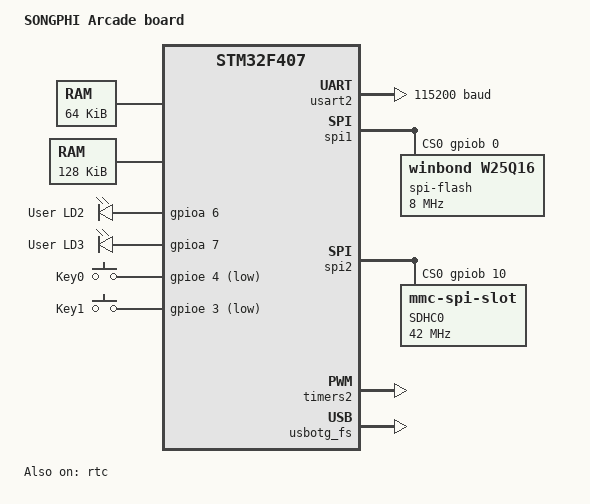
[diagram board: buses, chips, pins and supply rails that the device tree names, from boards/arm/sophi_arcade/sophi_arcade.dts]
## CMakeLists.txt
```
# SPDX-License-Identifier: Apache-2.0

cmake_minimum_required(VERSION 3.13.1)

set(BOARD_ROOT "${CMAKE_SOURCE_DIR}")

message(${BOARD_ROOT})

include($ENV{ZEPHYR_BASE}/cmake/app/boilerplate.cmake NO_POLICY_SCOPE)


project(sophi-arcade)

target_sources(app PRIVATE src/main.c)
```

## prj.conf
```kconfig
CONFIG_LVGL=y
```

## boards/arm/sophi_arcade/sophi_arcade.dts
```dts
/dts-v1/;

#include <mem.h>
#include <st/f4/stm32f407.dtsi>

/ {
    model = "SONGPHI Arcade board";
    compatible = "st,stm32f407";

    ccm0: memory@10000000 {
        compatible = "st,stm32-ccm";
        reg = <0x10000000 DT_SIZE_K(64)>;
    };

    sram0: memory@20000000 {
        reg = <0x20000000 DT_SIZE_K(128)>;
    };

    soc {
        flash-controller@40023c00 {
            flash0: flash@8000000 {
                reg = <0x08000000 DT_SIZE_K(512)>;
            };
        };
    };

    chosen {
        zephyr,console = &usart2;
        zephyr,shell-uart = &usart2;
        zephyr,sram = &sram0;
        zephyr,flash = &flash0;
        zephyr,ccm = &ccm0;
    };

    leds {
        compatible = "gpio-leds";

        led_2: led_2 {
            gpios = <&gpioa 6 GPIO_INT_ACTIVE_HIGH>;
            label = "User LD2";
        };
        led_3: led_3 {
            gpios = <&gpioa 7 GPIO_INT_ACTIVE_HIGH>;
            label = "User LD3";
        };
    };

    gpio_keys {
        compatible = "gpio-keys";

        k0_button: k0_button {
            label = "Key0";
            gpios = <&gpioe 4 GPIO_INT_ACTIVE_LOW>;
        };
        k1_button: k1_button {
            label = "Key1";
            gpios = <&gpioe 3 GPIO_INT_ACTIVE_LOW>;
        };
    };

    aliases {
        led0 = &led_2;
        led1 = &led_3;
        sw0 = &k0_button;
        sw1 = &k1_button;
    };
};

&usart2 {
    current-speed = <115200>;
    pinctrl-0 = <&usart2_pins_a>;
    pinctrl-names = "default";
    status = "ok";
};

&spi1 {
    status = "ok";
    cs-gpios = <&gpiob 0 0>;
    spi-flash@0 {
        #address-cells = <1>;
        #size-cells = <1>;
        compatible = "winbond,w25q16", "jedec,spi-nor";
        reg = <0>;
        spi-max-frequency = <8000000>;
    };
};

&spi2 {
    status = "ok";
    cs-gpios = <&gpiob 10 0>;
    sdhc0: sdhc@0 {
        compatible = "zephyr,mmc-spi-slot";
        reg = <0>;
        status = "ok";
        label = "SDHC0";
        spi-max-frequency = <42000000>;
    };
};


&timers2 {
    status = "ok";

    pwm {
        status = "ok";
    };
};

&rtc {
    status = "ok";
};

&usbotg_fs {
    status = "ok";
};
```

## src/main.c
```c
/*
 * Copyright (c) 2016 Intel Corporation
 *
 * SPDX-License-Identifier: Apache-2.0
 */

#include <zephyr.h>
#include <device.h>
#include <gpio.h>

#define LED_PORT 	LED0_GPIO_CONTROLLER
#define LED			LED0_GPIO_PIN
#define LED1		LED1_GPIO_PIN

/* 1000 msec = 1 sec */
#define SLEEP_TIME 	1000

void main(void)
{
	int cnt = 0;
	struct device *dev;

	dev = device_get_binding(LED_PORT);
	/* Set LED pin as output */
	gpio_pin_configure(dev, LED, GPIO_DIR_OUT);
	gpio_pin_configure(dev, LED1, GPIO_DIR_OUT);

	printf("%s\n", "Hello world!");

	while (1) {
		/* Set pin to HIGH/LOW every 1 second */
		gpio_pin_write(dev, LED, cnt % 2);
		gpio_pin_write(dev, LED1, cnt % 2);
		cnt++;
		k_sleep(SLEEP_TIME);
	}
}
```
